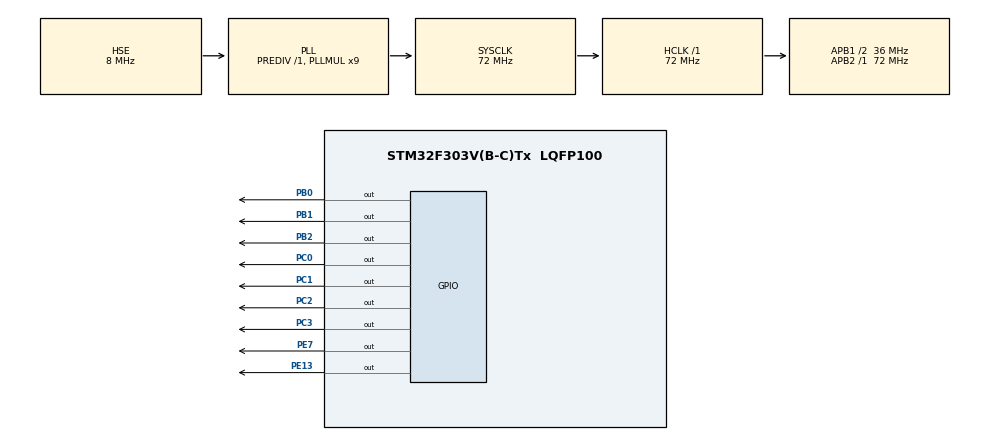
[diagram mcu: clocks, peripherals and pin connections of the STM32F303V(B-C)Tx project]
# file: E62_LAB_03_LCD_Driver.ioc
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Mcu.Family=STM32F3
RCC.PLLSourceVirtual=RCC_PLLSOURCE_HSE
PC15-OSC32_OUT.Mode=LSE-External-Oscillator
RCC.CortexFreq_Value=72000000
FREERTOS.Tasks01=defaultTask,24,128,StartDefaultTask,Default,NULL,Dynamic,NULL,NULL
RCC.SYSCLKSourceVirtual=RCC_SYSCLKSOURCE_PLLCLK
PC2.Signal=GPIO_Output
PC0.Signal=GPIO_Output
RCC.APB1CLKDivider=RCC_HCLK_DIV2
PC14-OSC32_IN.Signal=RCC_OSC32_IN
ProjectManager.StackSize=0x400
VP_FREERTOS_VS_CMSIS_V2.Mode=CMSIS_V2
ProjectManager.TargetToolchain=STM32CubeIDE
RCC.HCLKFreq_Value=72000000
RCC.APB2TimFreq_Value=72000000
PC3.Signal=GPIO_Output
RCC.USBFreq_Value=72000000
TIM4.Prescaler=72-1
PC15-OSC32_OUT.Signal=RCC_OSC32_OUT
RCC.AHBFreq_Value=72000000
PF0-OSC_IN.Mode=HSE-External-Clock-Source
RCC.HSE_VALUE=8000000
PB2.Signal=GPIO_Output
board=custom
RCC.PLLMUL=RCC_PLL_MUL9
RCC.APB2Freq_Value=72000000
PE13.Signal=GPIO_Output
PC14-OSC32_IN.Mode=LSE-External-Oscillator
VP_SYS_VS_tim1.Mode=TIM1
TIM4.Period=0xFFFF-1
Mcu.Name=STM32F303V(B-C)Tx
RCC.SYSCLKFreq_VALUE=72000000
Mcu.Package=LQFP100
PB1.Signal=GPIO_Output
NVIC.TimeBase=TIM1_UP_TIM16_IRQn
NVIC.TimeBaseIP=TIM1
ProjectManager.HeapSize=0x200
RCC.HSI_VALUE=8000000
VP_TIM4_VS_ClockSourceINT.Mode=Internal
NVIC.TIM1_UP_TIM16_IRQn=true\:0\:0\:false\:false\:true\:false\:false\:true
NVIC.PriorityGroup=NVIC_PRIORITYGROUP_4
RCC.APB1TimFreq_Value=72000000
PF0-OSC_IN.Signal=RCC_OSC_IN
PE7.Signal=GPIO_Output
RCC.APB1Freq_Value=36000000
PB0.Signal=GPIO_Output
PC1.Signal=GPIO_Output

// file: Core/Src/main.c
/* USER CODE BEGIN Header */
/**
  ******************************************************************************
  * @file           : main.c
  * @brief          : Main program body
  ******************************************************************************
  * @attention
  *
  * <h2><center>&copy; Copyright (c) 2021 STMicroelectronics.
  * All rights reserved.</center></h2>
  *
  * This software component is licensed by ST under BSD 3-Clause license,
  * the "License"; You may not use this file except in compliance with the
  * License. You may obtain a copy of the License at:
  *                        opensource.org/licenses/BSD-3-Clause
  *
  ******************************************************************************
  */
/* USER CODE END Header */
#include "main.h"
#include "cmsis_os.h"
#include "koibitoex_lcd2.h"
#include <string.h>
#include "semphr.h"
#include <FreeRTOS.h>

TIM_HandleTypeDef htim4;

/* Definitions for defaultTask */
osThreadId_t defaultTaskHandle;
const osThreadAttr_t defaultTask_attributes = {
  .name = "defaultTask",
  .priority = (osPriority_t) osPriorityNormal,
  .stack_size = 128 * 4
};

void SystemClock_Config(void);
static void MX_GPIO_Init(void);
static void MX_TIM4_Init(void);
void StartDefaultTask(void *argument);

void TaskUpline(void *argument);
void TaskDownline(void *argument);

SemaphoreHandle_t xBinarySemaphore;

int main(void)
{

  /* MCU Configuration--------------------------------------------------------*/

  /* Reset of all peripherals, Initializes the Flash interface and the Systick. */
  HAL_Init();

  /* Configure the system clock */
  SystemClock_Config();

  /* Initialize all configured peripherals */
  MX_GPIO_Init();
  MX_TIM4_Init();
  /* USER CODE BEGIN 2 */
  HAL_TIM_Base_Start(&htim4);
  /* USER CODE END 2 */

  /* Init scheduler */
  osKernelInitialize();

  LcdInit();
  uint8_t Str1[] = "Mahanakorn";
  uint8_t Str2[20];
  uint16_t round = 1;

  xBinarySemaphore = xSemaphoreCreateBinary();
  xSemaphoreGive(xBinarySemaphore);
  /* Create the thread(s) */
  /* creation of defaultTask */
  defaultTaskHandle = osThreadNew(StartDefaultTask, NULL, &defaultTask_attributes);

  xTaskCreate((TaskFunction_t *)TaskUpline,"TaskUpline", 128, NULL , osPriorityLow1, NULL);
  xTaskCreate((TaskFunction_t *)TaskDownline, "TaskDownline", 128, NULL , osPriorityLow, NULL);

  /* Start scheduler */
//  osKernelStart();
  vTaskStartScheduler();

  /* We should never get here as control is now taken by the scheduler */
  /* Infinite loop */
  while (1)
  {

  }
}

void SystemClock_Config(void)
{
  RCC_OscInitTypeDef RCC_OscInitStruct = {0};
  RCC_ClkInitTypeDef RCC_ClkInitStruct = {0};

  /** Initializes the RCC Oscillators according to the specified parameters
  * in the RCC_OscInitTypeDef structure.
  */
  RCC_OscInitStruct.OscillatorType = RCC_OSCILLATORTYPE_HSE;
  RCC_OscInitStruct.HSEState = RCC_HSE_BYPASS;
  RCC_OscInitStruct.HSEPredivValue = RCC_HSE_PREDIV_DIV1;
  RCC_OscInitStruct.HSIState = RCC_HSI_ON;
  RCC_OscInitStruct.PLL.PLLState = RCC_PLL_ON;
  RCC_OscInitStruct.PLL.PLLSource = RCC_PLLSOURCE_HSE;
  RCC_OscInitStruct.PLL.PLLMUL = RCC_PLL_MUL9;
  if (HAL_RCC_OscConfig(&RCC_OscInitStruct) != HAL_OK)
  {
    Error_Handler();
  }
  /** Initializes the CPU, AHB and APB buses clocks
  */
  RCC_ClkInitStruct.ClockType = RCC_CLOCKTYPE_HCLK|RCC_CLOCKTYPE_SYSCLK
                              |RCC_CLOCKTYPE_PCLK1|RCC_CLOCKTYPE_PCLK2;
  RCC_ClkInitStruct.SYSCLKSource = RCC_SYSCLKSOURCE_PLLCLK;
  RCC_ClkInitStruct.AHBCLKDivider = RCC_SYSCLK_DIV1;
  RCC_ClkInitStruct.APB1CLKDivider = RCC_HCLK_DIV2;
  RCC_ClkInitStruct.APB2CLKDivider = RCC_HCLK_DIV1;

  if (HAL_RCC_ClockConfig(&RCC_ClkInitStruct, FLASH_LATENCY_2) != HAL_OK)
  {
    Error_Handler();
  }
}

static void MX_TIM4_Init(void)
{

  TIM_ClockConfigTypeDef sClockSourceConfig = {0};
  TIM_MasterConfigTypeDef sMasterConfig = {0};

  htim4.Instance = TIM4;
  htim4.Init.Prescaler = 72-1;
  htim4.Init.CounterMode = TIM_COUNTERMODE_UP;
  htim4.Init.Period = 0xFFFF-1;
  htim4.Init.ClockDivision = TIM_CLOCKDIVISION_DIV1;
  htim4.Init.AutoReloadPreload = TIM_AUTORELOAD_PRELOAD_DISABLE;
  if (HAL_TIM_Base_Init(&htim4) != HAL_OK)
  {
    Error_Handler();
  }
  sClockSourceConfig.ClockSource = TIM_CLOCKSOURCE_INTERNAL;
  if (HAL_TIM_ConfigClockSource(&htim4, &sClockSourceConfig) != HAL_OK)
  {
    Error_Handler();
  }
  sMasterConfig.MasterOutputTrigger = TIM_TRGO_RESET;
  sMasterConfig.MasterSlaveMode = TIM_MASTERSLAVEMODE_DISABLE;
  if (HAL_TIMEx_MasterConfigSynchronization(&htim4, &sMasterConfig) != HAL_OK)
  {
    Error_Handler();
  }

}

static void MX_GPIO_Init(void)
{
  GPIO_InitTypeDef GPIO_InitStruct = {0};

  /* GPIO Ports Clock Enable */
  __HAL_RCC_GPIOC_CLK_ENABLE();
  __HAL_RCC_GPIOF_CLK_ENABLE();
  __HAL_RCC_GPIOB_CLK_ENABLE();
  __HAL_RCC_GPIOE_CLK_ENABLE();

  /*Configure GPIO pin Output Level */
  HAL_GPIO_WritePin(GPIOC, GPIO_PIN_0|GPIO_PIN_1|GPIO_PIN_2|GPIO_PIN_3, GPIO_PIN_RESET);

  /*Configure GPIO pin Output Level */
  HAL_GPIO_WritePin(GPIOB, GPIO_PIN_0|GPIO_PIN_1|GPIO_PIN_2, GPIO_PIN_RESET);

  /*Configure GPIO pin Output Level */
  HAL_GPIO_WritePin(GPIOE, GPIO_PIN_7|GPIO_PIN_13, GPIO_PIN_RESET);

  /*Configure GPIO pins : PC0 PC1 PC2 PC3 */
  GPIO_InitStruct.Pin = GPIO_PIN_0|GPIO_PIN_1|GPIO_PIN_2|GPIO_PIN_3;
  GPIO_InitStruct.Mode = GPIO_MODE_OUTPUT_PP;
  GPIO_InitStruct.Pull = GPIO_NOPULL;
  GPIO_InitStruct.Speed = GPIO_SPEED_FREQ_LOW;
  HAL_GPIO_Init(GPIOC, &GPIO_InitStruct);

  /*Configure GPIO pins : PB0 PB1 PB2 */
  GPIO_InitStruct.Pin = GPIO_PIN_0|GPIO_PIN_1|GPIO_PIN_2;
  GPIO_InitStruct.Mode = GPIO_MODE_OUTPUT_PP;
  GPIO_InitStruct.Pull = GPIO_NOPULL;
  GPIO_InitStruct.Speed = GPIO_SPEED_FREQ_LOW;
  HAL_GPIO_Init(GPIOB, &GPIO_InitStruct);

  /*Configure GPIO pins : PE7 PE13 */
  GPIO_InitStruct.Pin = GPIO_PIN_7|GPIO_PIN_13;
  GPIO_InitStruct.Mode = GPIO_MODE_OUTPUT_PP;
  GPIO_InitStruct.Pull = GPIO_NOPULL;
  GPIO_InitStruct.Speed = GPIO_SPEED_FREQ_LOW;
  HAL_GPIO_Init(GPIOE, &GPIO_InitStruct);

}

/* USER CODE BEGIN 4 */
void delay_us (uint16_t us){
	__HAL_TIM_SET_COUNTER(&htim4,0);  // set the counter value a 0
	while (__HAL_TIM_GET_COUNTER(&htim4) < us);  // wait for the counter to reach the us input in the parameter
}

void TaskUpline(void *argument){
	int count = 0;
	char msg[10];
	for(;;){
		xSemaphoreTake(xBinarySemaphore,portMAX_DELAY);

		LcdSetPosition(LCD_LINE_1, 0);
		LcdPutS((uint8_t *)"Hello LINE 1 ");
		LcdSetPosition(LCD_LINE_1, 13);
		sprintf(msg,"%d",count++);
		LcdPutS((uint8_t *)msg);

		if( count > 999 ) {
			LcdSetPosition(LCD_LINE_1, 13);
			LcdPutS((uint8_t *)"   ");
			count = 0;
		}

		xSemaphoreGive(xBinarySemaphore);
		vTaskDelay(1);
	}
}

void TaskDownline(void *argument){
	int count = 0;
	char msg[10];
	for(;;){
		xSemaphoreTake(xBinarySemaphore,portMAX_DELAY);
		LcdSetPosition(LCD_LINE_2, 0);
		LcdPutS((uint8_t *)"Hello LINE 2 ");
		LcdSetPosition(LCD_LINE_2, 13);
		sprintf(msg,"%d",count++);
		LcdPutS((uint8_t *)msg);

		if( count > 999 ) {
			LcdSetPosition(LCD_LINE_2, 13);
			LcdPutS((uint8_t *)"   ");
			count = 0;
		}

		xSemaphoreGive(xBinarySemaphore);
		vTaskDelay(1);
	}
}

/* USER CODE END 4 */

void StartDefaultTask(void *argument)
{
  for(;;)
  {
    osDelay(1);
  }
}

void HAL_TIM_PeriodElapsedCallback(TIM_HandleTypeDef *htim)
{
  if (htim->Instance == TIM1) {
    HAL_IncTick();
  }
}

void Error_Handler(void)
{
}

/************************ (C) COPYRIGHT STMicroelectronics *****END OF FILE****/
